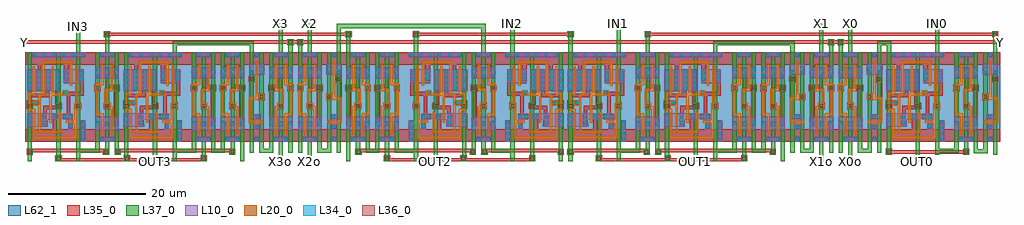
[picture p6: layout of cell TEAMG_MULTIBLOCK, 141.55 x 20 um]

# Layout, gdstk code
from math import pi, radians
import gdstk
lib = gdstk.Library(unit=1e-6, precision=1e-09)
def R(c, l, rs):  # rectangles x0, y0, x1, y1
    for r in rs: c.add(gdstk.rectangle(r[:2], r[2:], *l))
def A(c, l, x, y, w, h, nx, ny, dx, dy):  # array of equal rectangles
    R(c, l, [(x+i*dx, y+j*dy, x+i*dx+w, y+j*dy+h) for i in range(nx) for j in range(ny)])
def P(c, l, *ps):  # polygons
    for p in ps: c.add(gdstk.Polygon(p, *l))
L10_0 = (10, 0)
L20_0 = (20, 0)
L34_0 = (34, 0)
L35_0 = (35, 0)
L36_0 = (36, 0)
L37_0 = (37, 0)
L62_1 = (62, 1)

xor21_h = lib.new_cell('XOR21_H')
R(xor21_h, L10_0, [(8.05,0,8.75,3.15), (0.3,7.35,5.05,10.55), (5.65,8.5,8.5,10.55), (1.05,12.25,8.75,13)])
P(xor21_h, L10_0, [(6.95,4.025),(5.45,4.025),(5.45,3.975),(4.7,3.975),(4.7,4.175),(0.3,4.175),(0.3,2.175),(3.3,2.175),(3.3,3.175),(4.7,3.175),(4.7,3.325),(6.3,3.325),(6.3,2.575),(6.25,2.575),(6.25,1.875),(6.95,1.875)])
P(xor21_h, L20_0, [(6.85,11.75),(2.5,11.75),(2.5,7.025),(1.95,7.025),(1.95,6.05),(1.3,6.05),(1.3,5.25),(1.95,5.25),(1.95,1.275),(5.25,1.275),(5.25,4.375),(4.9,4.375),(4.9,1.625),(2.3,1.625),(2.3,6.675),(2.85,6.675),(2.85,11.4),(6.5,11.4),(6.5,8.1),(6.85,8.1)],
  [(8.1,5.6),(7.65,5.6),(7.65,10.95),(7.3,10.95),(7.3,5.6),(7.15,5.6),(7.15,3.125),(5.9,3.125),(5.9,2.775),(7.15,2.775),(7.15,0.825),(1.5,0.825),(1.5,4.8),(0.85,4.8),(0.85,6.8),(1.5,6.8),(1.5,10.95),(1.15,10.95),(1.15,7.15),(0.5,7.15),(0.5,4.45),(1.15,4.45),(1.15,0.475),(7.5,0.475),(7.5,4.8),(8.1,4.8)],
  [(6.275,7.475),(5.475,7.475),(5.475,7.025),(4.2,7.025),(4.2,10.95),(3.85,10.95),(3.85,7.025),(3.5,7.025),(3.5,2.775),(3.85,2.775),(3.85,6.675),(6.275,6.675)])
A(xor21_h, L34_0, 8.2, 0.2, 0.4, 0.4, 1, 4, 0, 0.8)
A(xor21_h, L34_0, 0.45, 7.55, 0.4, 0.4, 4, 4, 1.35, 0.8)
A(xor21_h, L34_0, 1.2, 12.4, 0.4, 0.4, 6, 1, 1.4, 0)
R(xor21_h, L34_0, [(6.4,2.05,6.8,2.45), (0.45,2.55,0.85,2.95), (2.6,2.55,3,2.95), (0.45,3.4,0.85,3.8), (2.6,3.4,3,3.8), (5.6,3.45,6,3.85), (6.4,3.45,6.8,3.85), (4.15,3.5,4.55,3.9), (7.5,5,7.9,5.4), (1.5,5.45,1.9,5.85), (5.65,6.9,6.05,7.3), (5.8,8.95,6.2,9.35), (7.95,8.95,8.35,9.35), (5.8,9.75,6.2,10.15), (7.95,9.75,8.35,10.15)])
R(xor21_h, L35_0, [(0.25,4.75,1.15,5.65), (4.4,4.75,5.3,5.65), (7.25,4.75,8.15,5.65), (7.25,4.75,8.15,5.65)])
P(xor21_h, L35_0, [(5.35,5.65),(4.85,5.65),(4.85,7.4),(5.05,7.4),(5.05,10.5),(4.35,10.5),(4.35,5.25),(2.65,5.25),(2.65,3.95),(2.45,3.95),(2.45,2.4),(3.15,2.4),(3.15,4.75),(5.35,4.75)],
  [(9.8,1.8),(8.75,1.8),(8.75,3.15),(8.05,3.15),(8.05,1.8),(6.95,1.8),(6.95,2.6),(6.25,2.6),(6.25,1.8),(4.7,1.8),(4.7,4.05),(4,4.05),(4,1.8),(1,1.8),(1,3.95),(0.3,3.95),(0.3,1.8),(0,1.8),(0,0),(9.8,0)],
  [(8.5,10.3),(7.8,10.3),(7.8,8.8),(8,8.8),(8,7.25),(6.25,7.25),(6.25,7.45),(5.5,7.45),(5.5,6.7),(6.05,6.7),(6.05,4.05),(5.45,4.05),(5.45,3.3),(6.95,3.3),(6.95,4.05),(6.55,4.05),(6.55,6.7),(8.5,6.7)],
  [(9.8,13),(0,13),(0,11.2),(1.85,11.2),(1.85,10.5),(1.65,10.5),(1.65,7.4),(2.35,7.4),(2.35,11.2),(5.65,11.2),(5.65,8.8),(6.35,8.8),(6.35,11.2),(9.8,11.2)],
  [(3.7,10.5),(3,10.5),(3,6.95),(1,6.95),(1,10.5),(0.3,10.5),(0.3,7.4),(0.5,7.4),(0.5,6.45),(3.5,6.45),(3.5,7.4),(3.7,7.4)],
  [(2.05,6),(0.25,6),(0.25,4.75),(1.15,4.75),(1.15,5.3),(2.05,5.3)])
R(xor21_h, L36_0, [(0.45,4.95,0.95,5.45), (4.6,4.95,5.1,5.45), (7.45,4.95,7.95,5.45)])
R(xor21_h, L37_0, [(0.4,0,1,13), (4.55,0,5.15,13), (7.4,0,8,13), (0.3,4.8,1.1,5.6), (4.45,4.8,5.25,5.6), (7.3,4.8,8.1,5.6)])
R(xor21_h, L62_1, [(0,0,9.8,13)])
xor21_h.add(gdstk.Label('XOR21', (4.9,9.5), layer=61, texttype=2))
xor21_h.add(gdstk.Label('A', (0.7,13), layer=37, texttype=0))
xor21_h.add(gdstk.Label('Q', (4.85,13), layer=37, texttype=0))
xor21_h.add(gdstk.Label('B', (7.7,13), layer=37, texttype=0))
xor21_h.add(gdstk.Label('GND', (9.8,0.9), layer=35, texttype=0))
xor21_h.add(gdstk.Label('GND', (0,0.9), layer=35, texttype=0))
xor21_h.add(gdstk.Label('VDD', (9.8,12.1), layer=35, texttype=0))
xor21_h.add(gdstk.Label('VDD', (0,12.1), layer=35, texttype=0))
xor21_h.add(gdstk.Label('A', (0.7,0), layer=37, texttype=0))
xor21_h.add(gdstk.Label('Q', (4.85,0), layer=37, texttype=0))
xor21_h.add(gdstk.Label('B', (7.7,0), layer=37, texttype=0))

via1 = lib.new_cell('VIA1')
R(via1, L35_0, [(-0.45,-0.45,0.45,0.45)])
R(via1, L36_0, [(-0.25,-0.25,0.25,0.25)])
R(via1, L37_0, [(-0.4,-0.4,0.4,0.4)])

nand21_h = lib.new_cell('NAND21_H')
R(nand21_h, L10_0, [(1.05,0,3.15,0.75), (0.4,1.6,3.8,3.6), (0.4,9.2,3.8,10.8), (1.05,12.25,3.15,13)])
P(nand21_h, L20_0, [(2.95,5.15),(2.625,5.15),(2.625,5.675),(2.05,5.675),(2.05,7.35),(2.95,7.35),(2.95,11.2),(2.6,11.2),(2.6,7.7),(1.7,7.7),(1.7,4.8),(2.6,4.8),(2.6,1.2),(2.95,1.2)],
  [(1.6,4.15),(0.775,4.15),(0.775,7.4),(1.1,7.4),(1.1,8.2),(1.6,8.2),(1.6,11.2),(1.25,11.2),(1.25,8.55),(0.425,8.55),(0.425,8.2),(0.3,8.2),(0.3,7.4),(0.425,7.4),(0.425,3.8),(1.25,3.8),(1.25,1.2),(1.6,1.2)])
A(nand21_h, L34_0, 0.55, 2.4, 0.4, 0.4, 3, 2, 1.35, 7)
A(nand21_h, L34_0, 0.55, 10.2, 0.4, 0.4, 3, 1, 1.35, 0)
R(nand21_h, L34_0, [(1.2,0.2,1.6,0.6), (2.6,0.2,3,0.6), (1.9,5,2.3,5.4), (0.5,7.6,0.9,8), (1.2,12.4,1.6,12.8), (2.6,12.4,3,12.8)])
R(nand21_h, L35_0, [(1.75,2.25,2.45,2.95), (1.65,4.75,2.55,5.65), (1.65,4.75,2.55,5.65), (0.25,7.35,1.15,8.25), (0.25,7.35,1.15,8.25), (3.05,7.35,3.95,8.25)])
P(nand21_h, L35_0, [(4.2,1.8),(1.1,1.8),(1.1,3),(0.4,3),(0.4,1.8),(0,1.8),(0,0),(4.2,0)],
  [(4.2,13),(0,13),(0,11.2),(0.4,11.2),(0.4,9.25),(1.1,9.25),(1.1,11.2),(3.1,11.2),(3.1,9.25),(3.8,9.25),(3.8,11.2),(4.2,11.2)],
  [(3.95,8.25),(2.45,8.25),(2.45,10.75),(1.75,10.75),(1.75,9.25),(1.95,9.25),(1.95,7.75),(3.05,7.75),(3.05,7.35),(3.1,7.35),(3.1,2.25),(3.8,2.25),(3.8,2.95),(3.6,2.95),(3.6,7.35),(3.95,7.35)])
R(nand21_h, L36_0, [(1.85,4.95,2.35,5.45), (0.45,7.55,0.95,8.05), (3.25,7.55,3.75,8.05)])
A(nand21_h, L37_0, 0.4, 0, 0.6, 13, 3, 1, 1.4, 0)
R(nand21_h, L37_0, [(1.7,4.8,2.5,5.6), (0.3,7.4,1.1,8.2), (3.1,7.4,3.9,8.2)])
R(nand21_h, L62_1, [(0,0,4.2,13)])
nand21_h.add(gdstk.Label('NAND21', (2.1,9.5), layer=61, texttype=2))
nand21_h.add(gdstk.Label('B', (0.7,13), layer=37, texttype=0))
nand21_h.add(gdstk.Label('Q', (3.5,13), layer=37, texttype=0))
nand21_h.add(gdstk.Label('A', (2.1,13), layer=37, texttype=0))
nand21_h.add(gdstk.Label('GND', (4.2,0.9), layer=35, texttype=0))
nand21_h.add(gdstk.Label('GND', (0,0.9), layer=35, texttype=0))
nand21_h.add(gdstk.Label('VDD', (4.2,12.1), layer=35, texttype=0))
nand21_h.add(gdstk.Label('VDD', (0,12.1), layer=35, texttype=0))
nand21_h.add(gdstk.Label('B', (0.7,0), layer=37, texttype=0))
nand21_h.add(gdstk.Label('Q', (3.5,0), layer=37, texttype=0))
nand21_h.add(gdstk.Label('A', (2.1,0), layer=37, texttype=0))

teamg_fulladder_no_tesse = lib.new_cell('TEAMG_FULLADDER_NO_TESSELATION')
teamg_fulladder_no_tesse.add(gdstk.FlexPath([(2.5,3.9),(-8.95,3.9)], 0.5, ends="flush", simple_path=True, layer=35, datatype=0))  # L35_0
teamg_fulladder_no_tesse.add(gdstk.FlexPath([(-8.9,3.9),(-18.7,3.9)], 0.5, ends="flush", simple_path=True, layer=35, datatype=0))  # L35_0
teamg_fulladder_no_tesse.add(gdstk.FlexPath([(-23.05,5.25),(-12.1,5.25)], 0.5, ends="flush", simple_path=True, layer=35, datatype=0))  # L35_0
teamg_fulladder_no_tesse.add(gdstk.FlexPath([(6.65,5.25),(-10.25,5.25)], 0.5, ends="flush", simple_path=True, layer=35, datatype=0))  # L35_0
teamg_fulladder_no_tesse.add(gdstk.FlexPath([(-16,5.2),(-13.1,5.2),(-13.1,6.5)], 0.6, ends="flush", simple_path=True, layer=37, datatype=0))  # L37_0
teamg_fulladder_no_tesse.add(gdstk.FlexPath([(-22.9,3.65),(-22.9,4.7)], 0.6, ends="flush", simple_path=True, layer=37, datatype=0))  # L37_0
teamg_fulladder_no_tesse.add(gdstk.FlexPath([(7.9,3.65),(7.9,6.5)], 0.6, ends="flush", simple_path=True, layer=37, datatype=0))  # L37_0
teamg_fulladder_no_tesse.add(gdstk.FlexPath([(-1.9,3.65),(-1.9,5.35)], 0.6, ends="flush", simple_path=True, layer=37, datatype=0))  # L37_0
teamg_fulladder_no_tesse.add(gdstk.FlexPath([(-4.75,3.65),(-4.75,6.5)], 0.6, ends="flush", simple_path=True, layer=37, datatype=0))  # L37_0
teamg_fulladder_no_tesse.add(gdstk.FlexPath([(-15.9,3.65),(-15.9,6.5)], 0.6, ends="flush", simple_path=True, layer=37, datatype=0))  # L37_0
teamg_fulladder_no_tesse.add(gdstk.FlexPath([(2.3,4.2),(2.3,6.5)], 0.6, ends="flush", simple_path=True, layer=37, datatype=0))  # L37_0
teamg_fulladder_no_tesse.add(gdstk.FlexPath([(-8.9,4.1),(-8.9,6.5)], 0.6, ends="flush", simple_path=True, layer=37, datatype=0))  # L37_0
teamg_fulladder_no_tesse.add(gdstk.FlexPath([(-18.75,4.25),(-18.75,6.5)], 0.6, ends="flush", simple_path=True, layer=37, datatype=0))  # L37_0
teamg_fulladder_no_tesse.add(gdstk.FlexPath([(-22.9,5.1),(-22.9,6.5)], 0.6, ends="flush", simple_path=True, layer=37, datatype=0))  # L37_0
teamg_fulladder_no_tesse.add(gdstk.FlexPath([(-11.7,5),(-11.7,6.5)], 0.6, ends="flush", simple_path=True, layer=37, datatype=0))  # L37_0
teamg_fulladder_no_tesse.add(gdstk.FlexPath([(-10.3,4.9),(-10.3,6.5)], 0.6, ends="flush", simple_path=True, layer=37, datatype=0))  # L37_0
teamg_fulladder_no_tesse.add(gdstk.FlexPath([(5.1,6.5),(5.1,5.2),(3.7,5.2),(3.7,6.5)], 0.6, ends="flush", simple_path=True, layer=37, datatype=0))  # L37_0
teamg_fulladder_no_tesse.add(gdstk.FlexPath([(0.9,6.5),(0.9,5.2),(-1.9,5.2),(-1.9,6.5)], 0.6, ends="flush", simple_path=True, layer=37, datatype=0))  # L37_0
teamg_fulladder_no_tesse.add(gdstk.FlexPath([(6.5,5),(6.5,6.5)], 0.6, ends="flush", simple_path=True, layer=37, datatype=0))  # L37_0
teamg_fulladder_no_tesse.add(gdstk.Reference(xor21_h, (-23.6,6.5)))
teamg_fulladder_no_tesse.add(gdstk.Reference(via1, (-22.9,5.05)))
teamg_fulladder_no_tesse.add(gdstk.Reference(via1, (2.3,4.1)))
teamg_fulladder_no_tesse.add(gdstk.Reference(via1, (-8.8,4.1)))
teamg_fulladder_no_tesse.add(gdstk.Reference(via1, (-18.75,4.1)))
teamg_fulladder_no_tesse.add(gdstk.Reference(via1, (-11.85,5.05)))
teamg_fulladder_no_tesse.add(gdstk.Reference(via1, (-10.15,5.05)))
teamg_fulladder_no_tesse.add(gdstk.Reference(via1, (6.45,5.05)))
teamg_fulladder_no_tesse.add(gdstk.Reference(nand21_h, (4.4,6.5)))
teamg_fulladder_no_tesse.add(gdstk.Reference(nand21_h, (0.2,6.5)))
teamg_fulladder_no_tesse.add(gdstk.Reference(xor21_h, (-9.6,6.5)))
teamg_fulladder_no_tesse.add(gdstk.Reference(nand21_h, (-13.8,6.5)))
teamg_fulladder_no_tesse.add(gdstk.Label('SUM', (-4.75,3.65), layer=37, texttype=0))
teamg_fulladder_no_tesse.add(gdstk.Label('A', (-22.9,3.65), layer=37, texttype=0))
teamg_fulladder_no_tesse.add(gdstk.Label('VDD', (8.6,18.6), layer=35, texttype=0))
teamg_fulladder_no_tesse.add(gdstk.Label('GND', (8.6,7.45), layer=35, texttype=0))
teamg_fulladder_no_tesse.add(gdstk.Label('GND', (-23.6,7.4), layer=35, texttype=0))
teamg_fulladder_no_tesse.add(gdstk.Label('VDD', (-23.6,18.6), layer=35, texttype=0))
teamg_fulladder_no_tesse.add(gdstk.Label('COUT', (7.9,19.5), layer=37, texttype=0))
teamg_fulladder_no_tesse.add(gdstk.Label('CIN', (-1.9,19.5), layer=37, texttype=0))
teamg_fulladder_no_tesse.add(gdstk.Label('SUM', (-4.75,19.5), layer=37, texttype=0))
teamg_fulladder_no_tesse.add(gdstk.Label('A', (-11.7,19.5), layer=37, texttype=0))
teamg_fulladder_no_tesse.add(gdstk.Label('B', (-15.9,19.5), layer=37, texttype=0))
teamg_fulladder_no_tesse.add(gdstk.Label('COUT', (7.9,3.65), layer=37, texttype=0))
teamg_fulladder_no_tesse.add(gdstk.Label('CIN', (-1.9,3.65), layer=37, texttype=0))
teamg_fulladder_no_tesse.add(gdstk.Label('B', (-15.9,3.65), layer=37, texttype=0))

inv1_h = lib.new_cell('INV1_H')
R(inv1_h, L10_0, [(1.05,0,1.75,0.75), (0.85,1.8,1.85,4), (0.3,9.7,2.5,11.3), (1.05,12.25,1.75,13)])
P(inv1_h, L20_0, [(2.525,6.45),(1.575,6.45),(1.575,11.7),(1.225,11.7),(1.225,6.9),(0.3,6.9),(0.3,6.1),(2.175,6.1),(2.175,3.075),(0.425,3.075),(0.425,2.725),(2.525,2.725)])
R(inv1_h, L34_0, [(1.2,0.2,1.6,0.6), (1.15,1.95,1.55,2.35), (1.15,3.45,1.55,3.85), (0.5,6.3,0.9,6.7), (0.45,9.85,0.85,10.25), (1.95,9.85,2.35,10.25), (0.45,10.65,0.85,11.05), (1.2,12.4,1.6,12.8)])
R(inv1_h, L35_0, [(0,0,2.8,1.8), (0.25,6.05,1.15,6.95), (0.25,6.05,1.15,6.95), (1.65,8.65,2.55,9.55), (0,11.2,2.8,13)])
P(inv1_h, L35_0, [(2.8,1.8),(1.75,1.8),(1.75,2.5),(1,2.5),(1,1.8),(0,1.8),(0,0),(2.8,0)],
  [(2.55,9.55),(2.5,9.55),(2.5,10.4),(1.8,10.4),(1.8,9.55),(1.65,9.55),(1.65,8.65),(1.8,8.65),(1.8,4),(1,4),(1,3.3),(2.5,3.3),(2.5,8.65),(2.55,8.65)],
  [(2.8,13),(0,13),(0,11.2),(0.3,11.2),(0.3,9.7),(1,9.7),(1,11.2),(2.8,11.2)])
R(inv1_h, L36_0, [(0.45,6.25,0.95,6.75), (1.85,8.85,2.35,9.35)])
R(inv1_h, L37_0, [(0.4,0,1,13), (1.8,0,2.4,13), (0.3,6.1,1.1,6.9), (1.7,8.7,2.5,9.5)])
R(inv1_h, L62_1, [(0,0,2.8,13)])
inv1_h.add(gdstk.Label('INV1', (1.4,9.5), layer=61, texttype=2))
inv1_h.add(gdstk.Label('A', (0.7,13), layer=37, texttype=0))
inv1_h.add(gdstk.Label('Q', (2.1,13), layer=37, texttype=0))
inv1_h.add(gdstk.Label('A', (0.7,0), layer=37, texttype=0))
inv1_h.add(gdstk.Label('Q', (2.1,0), layer=37, texttype=0))
inv1_h.add(gdstk.Label('VDD', (0,12.1), layer=35, texttype=0))
inv1_h.add(gdstk.Label('GND', (0,0.9), layer=35, texttype=0))
inv1_h.add(gdstk.Label('VDD', (2.8,12.1), layer=35, texttype=0))
inv1_h.add(gdstk.Label('GND', (2.8,0.9), layer=35, texttype=0))

teamg_halfadder_rb = lib.new_cell('TEAMG_HALFADDER_RB')
teamg_halfadder_rb.add(gdstk.FlexPath([(0.4,36.05),(-11.4,36.05)], 0.5, ends="flush", simple_path=True, layer=35, datatype=0))  # L35_0
teamg_halfadder_rb.add(gdstk.FlexPath([(2.9,37.5),(2.9,36.15),(1.5,36.15),(1.5,37.5)], 0.6, ends="flush", simple_path=True, layer=37, datatype=0))  # L37_0
teamg_halfadder_rb.add(gdstk.FlexPath([(4.3,35.6),(4.3,37.5)], 0.6, ends="flush", simple_path=True, layer=37, datatype=0))  # L37_0
teamg_halfadder_rb.add(gdstk.FlexPath([(0.1,36.15),(0.1,37.5)], 0.6, ends="flush", simple_path=True, layer=37, datatype=0))  # L37_0
teamg_halfadder_rb.add(gdstk.FlexPath([(-1.3,37.5),(-1.3,36.2),(-4.1,36.2),(-4.1,37.1)], 0.6, ends="flush", simple_path=True, layer=37, datatype=0))  # L37_0
teamg_halfadder_rb.add(gdstk.FlexPath([(-4.1,35.6),(-4.1,37.5)], 0.6, ends="flush", simple_path=True, layer=37, datatype=0))  # L37_0
teamg_halfadder_rb.add(gdstk.FlexPath([(-11.1,35.6),(-11.1,37.5)], 0.6, ends="flush", simple_path=True, layer=37, datatype=0))  # L37_0
teamg_halfadder_rb.add(gdstk.FlexPath([(-6.95,35.6),(-6.95,37.5)], 0.6, ends="flush", simple_path=True, layer=37, datatype=0))  # L37_0
teamg_halfadder_rb.add(gdstk.FlexPath([(-11.1,35.6),(-11.1,36.15)], 0.6, ends="flush", simple_path=True, layer=37, datatype=0))  # L37_0
teamg_halfadder_rb.add(gdstk.Reference(via1, (0.1,36.05), x_reflection=True))
teamg_halfadder_rb.add(gdstk.Reference(via1, (-11.1,36.05), x_reflection=True))
teamg_halfadder_rb.add(gdstk.Reference(nand21_h, (-2,37.5)))
teamg_halfadder_rb.add(gdstk.Reference(xor21_h, (-11.8,37.5)))
teamg_halfadder_rb.add(gdstk.Reference(inv1_h, (2.2,37.5)))
teamg_halfadder_rb.add(gdstk.Label('B', (-4.1,50.5), layer=37, texttype=0))
teamg_halfadder_rb.add(gdstk.Label('A', (0.1,50.5), layer=37, texttype=0))
teamg_halfadder_rb.add(gdstk.Label('B', (-1.3,50.5), layer=37, texttype=0))
teamg_halfadder_rb.add(gdstk.Label('SUM', (-6.95,50.5), layer=37, texttype=0))
teamg_halfadder_rb.add(gdstk.Label('A', (-11.1,50.5), layer=37, texttype=0))
teamg_halfadder_rb.add(gdstk.Label('COUT', (4.3,50.5), layer=37, texttype=0))
teamg_halfadder_rb.add(gdstk.Label('COUT', (4.3,35.6), layer=37, texttype=0))
teamg_halfadder_rb.add(gdstk.Label('B', (-4.1,35.6), layer=37, texttype=0))
teamg_halfadder_rb.add(gdstk.Label('SUM', (-6.95,35.6), layer=37, texttype=0))
teamg_halfadder_rb.add(gdstk.Label('A', (-11.1,35.6), layer=35, texttype=0))
teamg_halfadder_rb.add(gdstk.Label('VDD', (5,49.6), layer=35, texttype=0))
teamg_halfadder_rb.add(gdstk.Label('GND', (5,38.4), layer=35, texttype=0))
teamg_halfadder_rb.add(gdstk.Label('GND', (-11.8,38.4), layer=35, texttype=0))
teamg_halfadder_rb.add(gdstk.Label('VDD', (-11.8,49.6), layer=35, texttype=0))

teamg_and_rb = lib.new_cell('TEAMG_AND_RB')
teamg_and_rb.add(gdstk.FlexPath([(32.9,17.55),(32.9,16.25),(34.3,16.25),(34.3,17.55)], 0.6, ends="flush", simple_path=True, layer=37, datatype=0))  # L37_0
teamg_and_rb.add(gdstk.FlexPath([(30.1,15.95),(30.1,17.55)], 0.6, ends="flush", simple_path=True, layer=37, datatype=0))  # L37_0
teamg_and_rb.add(gdstk.FlexPath([(31.5,15.95),(31.5,17.55)], 0.6, ends="flush", simple_path=True, layer=37, datatype=0))  # L37_0
teamg_and_rb.add(gdstk.FlexPath([(35.7,15.95),(35.7,17.55)], 0.6, ends="flush", simple_path=True, layer=37, datatype=0))  # L37_0
teamg_and_rb.add(gdstk.Reference(nand21_h, (29.4,17.55)))
teamg_and_rb.add(gdstk.Reference(inv1_h, (33.6,17.55)))
teamg_and_rb.add(gdstk.Label('B', (30.1,30.55), layer=37, texttype=0))
teamg_and_rb.add(gdstk.Label('Q', (35.7,30.55), layer=37, texttype=0))
teamg_and_rb.add(gdstk.Label('A', (31.5,30.55), layer=37, texttype=0))
teamg_and_rb.add(gdstk.Label('B', (30.1,15.95), layer=37, texttype=0))
teamg_and_rb.add(gdstk.Label('A', (31.5,15.95), layer=37, texttype=0))
teamg_and_rb.add(gdstk.Label('Q', (35.7,15.95), layer=37, texttype=0))
teamg_and_rb.add(gdstk.Label('VDD', (36.4,29.65), layer=37, texttype=0))
teamg_and_rb.add(gdstk.Label('GND', (36.4,18.45), layer=37, texttype=0))
teamg_and_rb.add(gdstk.Label('GND', (29.4,18.45), layer=37, texttype=0))
teamg_and_rb.add(gdstk.Label('VDD', (29.4,29.65), layer=37, texttype=0))

teamg_multiblock = lib.new_cell('TEAMG_MULTIBLOCK')
teamg_multiblock.add(gdstk.FlexPath([(67.35,14.6),(16.6,14.6)], 0.5, ends="flush", simple_path=True, layer=35, datatype=0))  # L35_0
teamg_multiblock.add(gdstk.FlexPath([(-26.2,14.6),(-61.75,14.6)], 0.5, ends="flush", simple_path=True, layer=35, datatype=0))  # L35_0
teamg_multiblock.add(gdstk.FlexPath([(-17.05,14.6),(6,14.6)], 0.5, ends="flush", simple_path=True, layer=35, datatype=0))  # L35_0
teamg_multiblock.add(gdstk.FlexPath([(68.05,13.45),(-73.5,13.45)], 0.5, ends="flush", simple_path=True, layer=35, datatype=0))  # L35_0
teamg_multiblock.add(gdstk.FlexPath([(56.1,-3.85),(56.1,-2.9)], 0.6, ends="flush", simple_path=True, layer=37, datatype=0))  # L37_0
teamg_multiblock.add(gdstk.FlexPath([(51.95,12),(51.95,13.3),(50.55,13.3),(50.55,12)], 0.6, ends="flush", simple_path=True, layer=37, datatype=0))  # L37_0
teamg_multiblock.add(gdstk.FlexPath([(16.95,14.85),(16.95,12)], 0.6, ends="flush", simple_path=True, layer=37, datatype=0))  # L37_0
teamg_multiblock.add(gdstk.FlexPath([(37.95,12),(37.95,13.3),(26.75,13.3),(26.75,12)], 0.6, ends="flush", simple_path=True, layer=37, datatype=0))  # L37_0
teamg_multiblock.add(gdstk.FlexPath([(12.75,16.15),(12.75,12)], 0.6, ends="flush", simple_path=True, layer=37, datatype=0))  # L37_0
teamg_multiblock.add(gdstk.FlexPath([(-6.85,12),(-6.85,15.8),(-27.85,15.8),(-27.85,12)], 0.6, ends="flush", simple_path=True, layer=37, datatype=0))  # L37_0
teamg_multiblock.add(gdstk.FlexPath([(-61.45,14.85),(-61.45,12)], 0.6, ends="flush", simple_path=True, layer=37, datatype=0))  # L37_0
teamg_multiblock.add(gdstk.FlexPath([(-40.45,12),(-40.45,13.3),(-51.65,13.3),(-51.65,12)], 0.6, ends="flush", simple_path=True, layer=37, datatype=0))  # L37_0
teamg_multiblock.add(gdstk.FlexPath([(-65.65,15.75),(-65.65,12)], 0.6, ends="flush", simple_path=True, layer=37, datatype=0))  # L37_0
teamg_multiblock.add(gdstk.FlexPath([(46.35,-3.85),(46.35,-2.6)], 0.6, ends="flush", simple_path=True, layer=37, datatype=0))  # L37_0
teamg_multiblock.add(gdstk.FlexPath([(42.15,-3.85),(42.15,-2.6)], 0.6, ends="flush", simple_path=True, layer=37, datatype=0))  # L37_0
teamg_multiblock.add(gdstk.FlexPath([(-32.05,-3.85),(-32.05,-2.6)], 0.6, ends="flush", simple_path=True, layer=37, datatype=0))  # L37_0
teamg_multiblock.add(gdstk.FlexPath([(-36.25,-3.85),(-36.25,-2.6)], 0.6, ends="flush", simple_path=True, layer=37, datatype=0))  # L37_0
teamg_multiblock.add(gdstk.FlexPath([(58.95,16.15),(58.95,12)], 0.6, ends="flush", simple_path=True, layer=37, datatype=0))  # L37_0
teamg_multiblock.add(gdstk.FlexPath([(46.35,16.15),(46.35,12)], 0.6, ends="flush", simple_path=True, layer=37, datatype=0))  # L37_0
teamg_multiblock.add(gdstk.FlexPath([(42.15,16.15),(42.15,12)], 0.6, ends="flush", simple_path=True, layer=37, datatype=0))  # L37_0
teamg_multiblock.add(gdstk.FlexPath([(-2.65,16.15),(-2.65,12)], 0.6, ends="flush", simple_path=True, layer=37, datatype=0))  # L37_0
teamg_multiblock.add(gdstk.FlexPath([(-32.05,16.15),(-32.05,12)], 0.6, ends="flush", simple_path=True, layer=37, datatype=0))  # L37_0
teamg_multiblock.add(gdstk.FlexPath([(-36.25,16.15),(-36.25,12)], 0.6, ends="flush", simple_path=True, layer=37, datatype=0))  # L37_0
teamg_multiblock.add(gdstk.FlexPath([(67.35,14.85),(67.35,12)], 0.6, ends="flush", simple_path=True, layer=37, datatype=0))  # L37_0
teamg_multiblock.add(gdstk.FlexPath([(-26.45,14.85),(-26.45,12)], 0.6, ends="flush", simple_path=True, layer=37, datatype=0))  # L37_0
teamg_multiblock.add(gdstk.FlexPath([(5.75,14.85),(5.75,12)], 0.6, ends="flush", simple_path=True, layer=37, datatype=0))  # L37_0
teamg_multiblock.add(gdstk.FlexPath([(-16.65,14.85),(-16.65,12)], 0.6, ends="flush", simple_path=True, layer=37, datatype=0))  # L37_0
teamg_multiblock.add(gdstk.FlexPath([(-34.85,13.7),(-34.85,12)], 0.6, ends="flush", simple_path=True, layer=37, datatype=0))  # L37_0
teamg_multiblock.add(gdstk.FlexPath([(-33.45,13.7),(-33.45,12)], 0.6, ends="flush", simple_path=True, layer=37, datatype=0))  # L37_0
teamg_multiblock.add(gdstk.FlexPath([(43.55,13.7),(43.55,12)], 0.6, ends="flush", simple_path=True, layer=37, datatype=0))  # L37_0
teamg_multiblock.add(gdstk.FlexPath([(44.95,13.7),(44.95,12)], 0.6, ends="flush", simple_path=True, layer=37, datatype=0))  # L37_0
teamg_multiblock.add(gdstk.Reference(teamg_fulladder_no_tesse, (28.65,-7.5)))
teamg_multiblock.add(gdstk.Reference(teamg_halfadder_rb, (63.05,-38.5)))
teamg_multiblock.add(gdstk.Reference(via1, (16.95,14.6)))
teamg_multiblock.add(gdstk.Reference(teamg_fulladder_no_tesse, (-18.55,-7.5), rotation=pi, x_reflection=True))
teamg_multiblock.add(gdstk.Reference(via1, (-61.45,14.6)))
teamg_multiblock.add(gdstk.Reference(teamg_fulladder_no_tesse, (-49.75,-7.5)))
teamg_multiblock.add(gdstk.Reference(via1, (67.35,14.6)))
teamg_multiblock.add(gdstk.Reference(via1, (-26.45,14.6)))
teamg_multiblock.add(gdstk.Reference(via1, (5.75,14.6)))
teamg_multiblock.add(gdstk.Reference(via1, (-16.65,14.6)))
teamg_multiblock.add(gdstk.Reference(via1, (-34.85,13.45), rotation=pi, x_reflection=True))
teamg_multiblock.add(gdstk.Reference(teamg_and_rb, (-4.75,-18.55), rotation=pi, x_reflection=True))
teamg_multiblock.add(gdstk.Reference(teamg_and_rb, (-63.55,-18.55)))
teamg_multiblock.add(gdstk.Reference(via1, (-33.45,13.45)))
teamg_multiblock.add(gdstk.Reference(teamg_and_rb, (73.65,-18.55), rotation=pi, x_reflection=True))
teamg_multiblock.add(gdstk.Reference(via1, (43.55,13.45), rotation=pi, x_reflection=True))
teamg_multiblock.add(gdstk.Reference(teamg_and_rb, (14.85,-18.55)))
teamg_multiblock.add(gdstk.Reference(via1, (44.95,13.45)))
teamg_multiblock.add(gdstk.Label('OUT3', (-54.5,-3.85), layer=37, texttype=0))
teamg_multiblock.add(gdstk.Label('OUT1', (23.9,-3.85), layer=37, texttype=0))
teamg_multiblock.add(gdstk.Label('OUT0', (56.1,-3.85), layer=37, texttype=0))
teamg_multiblock.add(gdstk.Label('IN1', (12.75,16.15), layer=37, texttype=0))
teamg_multiblock.add(gdstk.Label('IN3', (-65.65,15.75), layer=37, texttype=0))
teamg_multiblock.add(gdstk.Label('X0o', (46.35,-3.85), layer=37, texttype=0))
teamg_multiblock.add(gdstk.Label('X1o', (42.15,-3.85), layer=37, texttype=0))
teamg_multiblock.add(gdstk.Label('X2o', (-32.05,-3.85), layer=37, texttype=0))
teamg_multiblock.add(gdstk.Label('X3o', (-36.25,-3.85), layer=37, texttype=0))
teamg_multiblock.add(gdstk.Label('IN0', (58.95,16.15), layer=37, texttype=0))
teamg_multiblock.add(gdstk.Label('X0', (46.35,16.15), layer=37, texttype=0))
teamg_multiblock.add(gdstk.Label('X1', (42.15,16.15), layer=37, texttype=0))
teamg_multiblock.add(gdstk.Label('IN2', (-2.65,16.15), layer=37, texttype=0))
teamg_multiblock.add(gdstk.Label('X2', (-32.05,16.15), layer=37, texttype=0))
teamg_multiblock.add(gdstk.Label('X3', (-36.25,16.15), layer=37, texttype=0))
teamg_multiblock.add(gdstk.Label('Y', (68.05,13.45), layer=37, texttype=0))
teamg_multiblock.add(gdstk.Label('OUT2', (-13.8,-3.85), layer=37, texttype=0))
teamg_multiblock.add(gdstk.Label('Y', (-73.5,13.45), layer=37, texttype=0))

lib.write_gds('TEAMG_MULTIBLOCK.gds')
